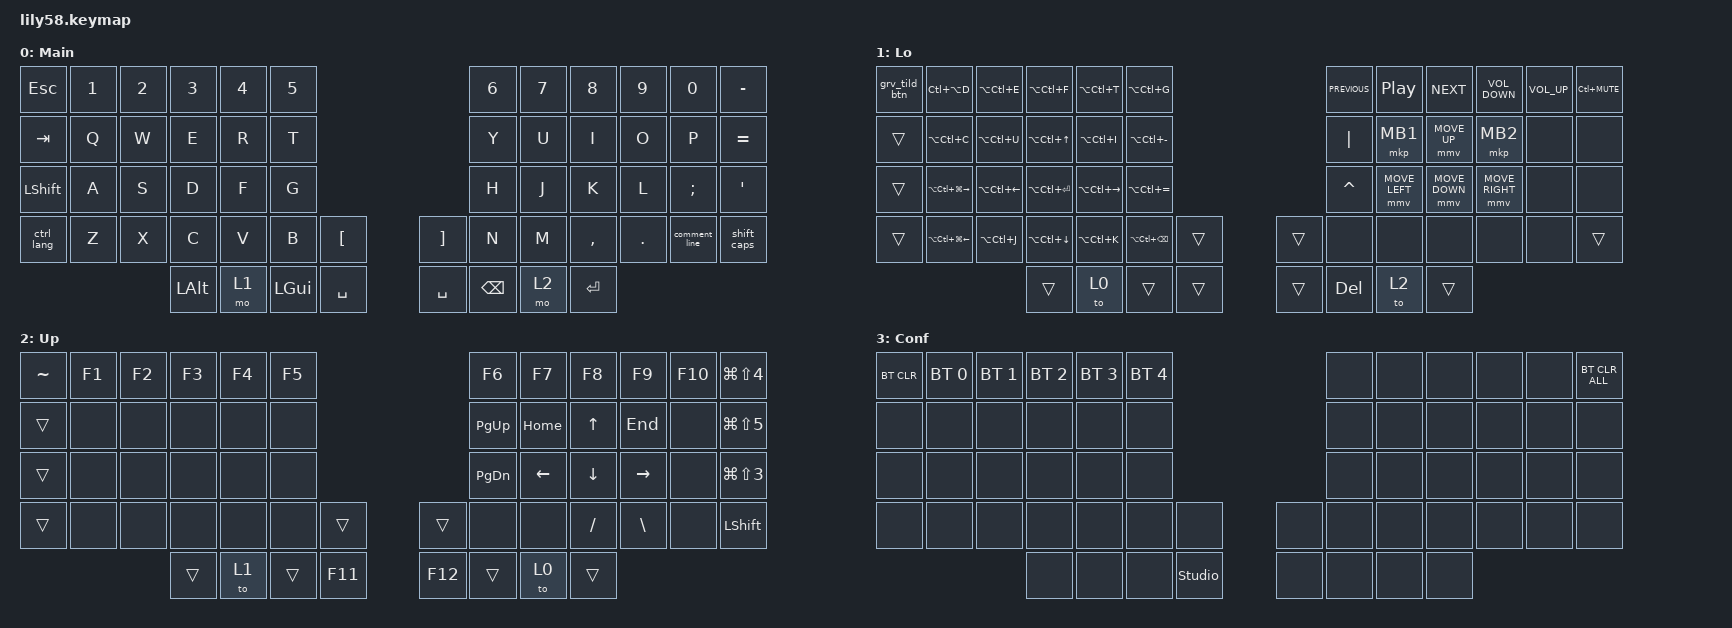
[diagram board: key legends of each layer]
/*
 * Copyright (c) 2022 The ZMK Contributors
 *
 * SPDX-License-Identifier: MIT
 */

#define ZMK_BEHAVIORS_OMIT_KT

#include <behaviors.dtsi>
#include <dt-bindings/zmk/bt.h>
#include <dt-bindings/zmk/ext_power.h>
#include <dt-bindings/zmk/keys.h>
#include <dt-bindings/zmk/outputs.h>
#include <dt-bindings/zmk/pointing.h>

/ {
    behaviors {
        bracket_btn: bracket_btn {
            compatible = "zmk,behavior-tap-dance";
            label = "BRACKET_BTN";
            #binding-cells = <0>;
            bindings = <&kp LEFT_BRACKET>, <&kp RIGHT_BRACKET>;

            tapping-term-ms = <250>;
        };

        space_ret_btn: space_ret_btn {
            compatible = "zmk,behavior-tap-dance";
            label = "SPACE_RET_BTN";
            #binding-cells = <0>;
            bindings = <&kp SPACE>, <&kp RET>;
        };

        grv_tild_btn: grv_tild_btn {
            compatible = "zmk,behavior-tap-dance";
            label = "GRV_TILD_BTN";
            #binding-cells = <0>;
            bindings = <&kp GRAVE>, <&kp TILDE>;
        };

        comment_line: comment_line {
            compatible = "zmk,behavior-tap-dance";
            label = "COMMENT_LINE";
            #binding-cells = <0>;
            bindings = <&kp SLASH>, <&kp LG(SLASH)>;
        };

        shift_caps: shift_caps {
            compatible = "zmk,behavior-tap-dance";
            label = "SHIFT_CAPS";
            #binding-cells = <0>;
            bindings = <&kp RIGHT_SHIFT>, <&kp CAPSLOCK>;
        };

        ctrl_lang: ctrl_lang {
            compatible = "zmk,behavior-tap-dance";
            label = "CTRL_LANG";
            #binding-cells = <0>;
            bindings = <&kp LEFT_CONTROL>, <&kp LC(SPACE)>;
        };
    };

    combos {
        compatible = "zmk,combos";

        cfg_layer {
            bindings = <&tog 3>;
            key-positions = <36 49>;
        };

        softOff {
            bindings = <&soft_off>;
            key-positions = <53 54>;
        };

        power_togl {
            bindings = <&ext_power EP_TOG>;
            key-positions = <0 11 1 2 3 4 5 6 7 8 9 10>;
        };

        ou_tog {
            bindings = <&out OUT_TOG>;
            key-positions = <42 43>;
        };

        brace {
            bindings = <&kp LEFT_BRACE>;
            key-positions = <42 29>;
        };
    };

    keymap {
        compatible = "zmk,keymap";

        // GRAVE

        main {
            display-name = "Main";
            bindings = <
&kp ESC     &kp N1  &kp N2  &kp N3    &kp N4  &kp N5                                   &kp N6    &kp N7  &kp N8     &kp N9   &kp N0         &kp MINUS
&kp TAB     &kp Q   &kp W   &kp E     &kp R   &kp T                                    &kp Y     &kp U   &kp I      &kp O    &kp P          &kp EQUAL
&kp LSHFT   &kp A   &kp S   &kp D     &kp F   &kp G                                    &kp H     &kp J   &kp K      &kp L    &kp SEMI       &kp SQT
&ctrl_lang  &kp Z   &kp X   &kp C     &kp V   &kp B     &kp LEFT_BRACKET    &kp RBKT   &kp N     &kp M   &kp COMMA  &kp DOT  &comment_line  &shift_caps
                            &kp LALT  &mo 1   &kp LGUI  &kp SPACE           &kp SPACE  &kp BSPC  &mo 2   &kp RET
            >;
        };

        lower {
            display-name = " Lo ";
            bindings = <
&grv_tild_btn  &kp LC(LA(D))               &kp LA(LC(E))     &kp LA(LC(F))           &kp LA(LC(T))      &kp LA(LC(G))                            &kp C_PREVIOUS  &kp C_PLAY_PAUSE  &kp C_NEXT      &kp C_VOLUME_DOWN  &kp C_VOLUME_UP  &kp LC(K_MUTE)
&trans         &kp LA(LC(C))               &kp LA(LC(U))     &kp LA(LC(UP_ARROW))    &kp LA(LC(I))      &kp LA(LC(MINUS))                        &kp PIPE        &mkp MB1          &mmv MOVE_UP    &mkp MB2           &none            &none
&trans         &kp LA(LC(LG(RIGHT)))       &kp LA(LC(LEFT))  &kp LA(LC(ENTER))       &kp LA(LC(RIGHT))  &kp LA(LC(EQUAL))                        &kp CARET       &mmv MOVE_LEFT    &mmv MOVE_DOWN  &mmv MOVE_RIGHT    &none            &none
&trans         &kp LA(LC(LG(LEFT_ARROW)))  &kp LA(LC(J))     &kp LA(LC(DOWN_ARROW))  &kp LA(LC(K))      &kp LA(LC(BACKSPACE))  &trans    &trans  &none           &none             &none           &none              &none            &trans
                                                             &trans                  &to 0              &trans                 &trans    &trans  &kp DELETE      &to 2             &trans
            >;
        };

        upper {
            display-name = " Up ";
            bindings = <
&kp TILDE  &kp F1  &kp F2  &kp F3  &kp F4  &kp F5                      &kp F6     &kp F7    &kp F8        &kp F9         &kp F10  &kp LG(LS(NUMBER_4))
&trans     &none   &none   &none   &none   &none                       &kp PG_UP  &kp HOME  &kp UP_ARROW  &kp END        &none    &kp LG(LS(N5))
&trans     &none   &none   &none   &none   &none                       &kp PG_DN  &kp LEFT  &kp DOWN      &kp RIGHT      &none    &kp LG(LS(NUMBER_3))
&trans     &none   &none   &none   &none   &none   &trans     &trans   &none      &none     &kp SLASH     &kp BACKSLASH  &none    &kp LSHFT
                           &trans  &to 1   &trans  &kp F11    &kp F12  &trans     &to 0     &trans
            >;
        };

        config {
            display-name = "Conf";
            bindings = <
&bt BT_CLR  &bt BT_SEL 0  &bt BT_SEL 1  &bt BT_SEL 2  &bt BT_SEL 3  &bt BT_SEL 4                           &none  &none  &none  &none  &none  &bt BT_CLR_ALL
&none       &none         &none         &none         &none         &none                                  &none  &none  &none  &none  &none  &none
&none       &none         &none         &none         &none         &none                                  &none  &none  &none  &none  &none  &none
&none       &none         &none         &none         &none         &none         &none             &none  &none  &none  &none  &none  &none  &none
                                        &none         &none         &none         &studio_unlock    &none  &none  &none  &none
            >;
        };
    };
};
